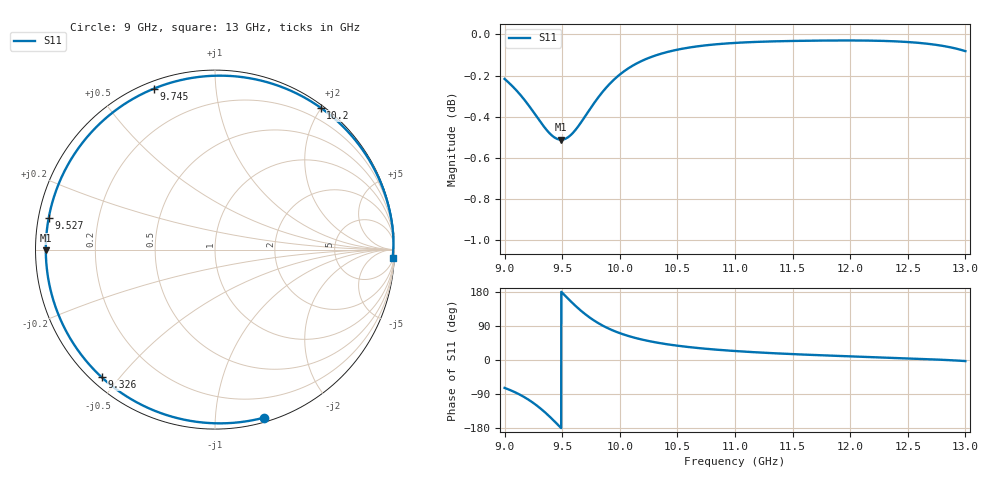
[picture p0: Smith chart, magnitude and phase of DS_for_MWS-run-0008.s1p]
! TOUCHSTONE file generated by CST DESIGN STUDIO
! Date and time: Tue Feb  4 17:12:55 2025
! Project name: C:\Work\MatlabApps\UnitCellOptimizationMatlab\CST\unitcell.cst
! Tree item: Tasks\Sweep1\SPara1\S-Parameters
! Header version: 2024
! Port assignment regex: !\s*Touchstone port\s*([0-9]+)\s*=\s*(CST MWS port|CST DES external port|CST DES block port)\s*(.+)\s* \(\"(.*)\"\)(\s*mode\s*([0-9]+))?.*
! Touchstone port assignment:
! Touchstone port 1 = CST DES external port 1 ("")
# GHz S MA R 50
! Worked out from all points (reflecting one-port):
!   4001 points, 9 GHz to 13 GHz, reference 50 ohm
!   lowest |S11| = -0.5 dB at 9.491 GHz (marker M1), VSWR 33.94, Z = 1.47 - j0.127 ohm
!   phase of S11 starts at -74 deg and turns -289 deg over the sweep
!   S11 on the Smith chart (normalised r, x): 9 GHz: 0.03, -1.34; 9.326 GHz: 0.03, -0.45; 9.527 GHz: 0.03, +0.10; 9.745 GHz: 0.03, +0.69; 10.2 GHz: 0.04, +1.99; 13 GHz: 8, -40
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9  0.9754 -73.6
9.088  0.9701 -84.8
9.19  0.9626 -101.4
9.261  0.9566 -115.9
9.326  0.951 -131.6
9.37  0.9475 -143.4
9.416  0.9447 -156.7
9.454  0.9432 -168.2
9.491  0.9428 -179.7
9.5  0.9428 177.5
9.527  0.9432 169.1
9.579  0.9455 153.4
9.639  0.9498 136.4
9.691  0.9544 123.0
9.745  0.9594 110.7
9.853  0.9685 90.5
9.925  0.9735 79.9
10  0.9778 70.9
10.095  0.982 61.5
10.201  0.9856 53.3
10.338  0.9888 45.1
10.5  0.9915 37.7
10.722  0.9937 30.3
11  0.9952 23.7
11.5  0.9963 15.5
12  0.9966 9.6
12.5  0.9957 4.3
13  0.9906 -2.8
